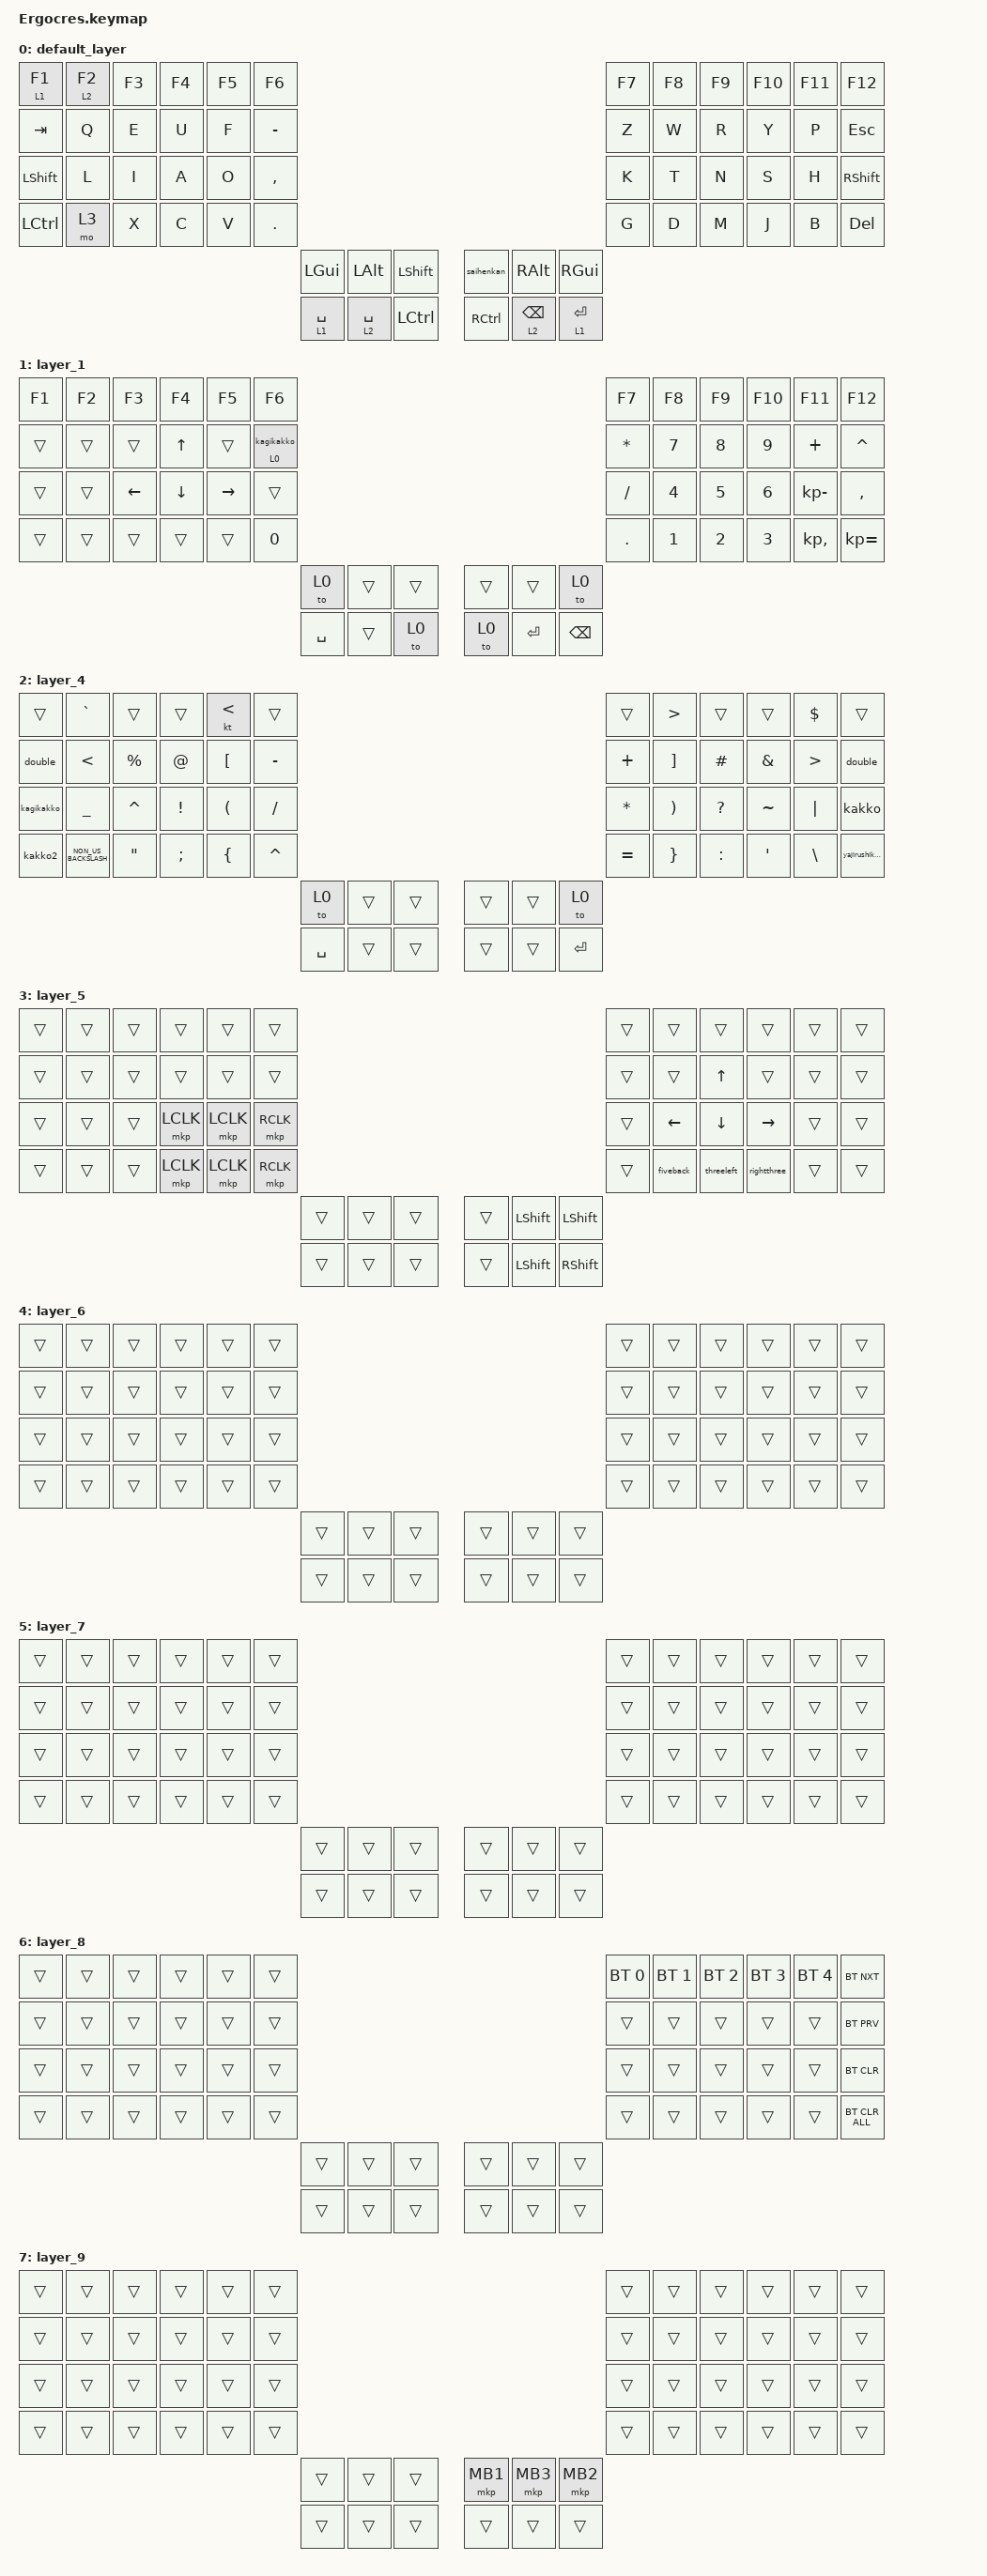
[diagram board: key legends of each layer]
#include <behaviors.dtsi>
#include <dt-bindings/zmk/bt.h>
#include <dt-bindings/zmk/keys.h>
#include <dt-bindings/zmk/pointing.h>

&mt {
    flavor = "balanced";
    quick-tap-ms = <0>;
};

/ {
    combos {
        compatible = "zmk,combos";

        home {
            bindings = <&kp HOME>;
            key-positions = <31 33>;
        };

        end {
            bindings = <&kp END>;
            key-positions = <43 45>;
        };

        pgup {
            bindings = <&kp PAGE_UP>;
            key-positions = <26 28>;
        };

        pgdn {
            bindings = <&kp PAGE_DOWN>;
            key-positions = <38 40>;
        };

        prtsc {
            bindings = <&kp PRINTSCREEN>;
            key-positions = <19 20 21>;
        };

        shiftcaps {
            bindings = <&oomoji>;
            key-positions = <24 36 37 25>;
        };

        altF4 {
            bindings = <&altF4>;
            key-positions = <3 5>;
            timeout-ms = <200>;
            require-prior-idle-ms = <300>;
        };

        tolayer1 {
            bindings = <&mo 1>;
            key-positions = <48 54>;
        };

        tolayer2 {
            bindings = <&mo 2>;
            key-positions = <49 55>;
        };

        Rtolayer1 {
            bindings = <&kp ENTER>;
            key-positions = <53 59>;
        };

        rtolayer2 {
            bindings = <&kp BACKSPACE>;
            key-positions = <52 58>;
        };

        caps2 {
            bindings = <&oomoji>;
            key-positions = <24 35>;
        };

        kana {
            bindings = <&kp LANGUAGE_1>;
            key-positions = <19 21>;
        };

        hanzen {
            bindings = <&kp LANG2>;
            key-positions = <14 16>;
        };

        right {
            bindings = <&kp RIGHT>;
            key-positions = <4 16>;
        };

        left {
            bindings = <&kp LEFT>;
            key-positions = <2 14>;
        };

        up {
            bindings = <&kp UP_ARROW>;
            key-positions = <3 15>;
        };

        down {
            bindings = <&kp DOWN>;
            key-positions = <15 27>;
        };

        kagikakko {
            bindings = <&kagikakko>;
            key-positions = <15 16 31>;
        };

        kakko {
            bindings = <&kakko>;
            key-positions = <27 28 31>;
        };

        double {
            bindings = <&double>;
            key-positions = <31 3 4>;
        };

        yajirushikakko {
            bindings = <&yajirushikakko>;
            key-positions = <39 40 31>;
        };

        kakko2 {
            bindings = <&kakko2>;
            key-positions = <15 16 19>;
        };

        to1 {
            bindings = <&tog 1>;
            key-positions = <52 53>;
        };

        too1 {
            bindings = <&tog 1>;
            key-positions = <48 49>;
        };

        too2 {
            bindings = <&tog 2>;
            key-positions = <54 55>;
        };

        enter2 {
            bindings = <&kp BACKSPACE>;
            key-positions = <31 43>;
        };

        enter3 {
            bindings = <&kp BACKSPACE>;
            key-positions = <30 42>;
        };
    };

    macros {
        kagikakko: to_layer_0 {
            compatible = "zmk,behavior-macro";
            #binding-cells = <0>;
            bindings = <&kp LEFT_BRACKET &kp RIGHT_BRACKET &kp ENTER &kp LEFT>;
            label = "TO_LAYER_0";
        };

        kakko2: kakko2 {
            compatible = "zmk,behavior-macro";
            #binding-cells = <0>;
            bindings = <&kp LEFT_BRACE &kp RIGHT_BRACE &kp ENTER &kp LEFT>;
            label = "kakko2";
        };

        kakko: kakko {
            compatible = "zmk,behavior-macro";
            #binding-cells = <0>;
            bindings = <&kp LEFT_PARENTHESIS &kp RIGHT_PARENTHESIS &kp ENTER &kp LEFT>;
            label = "kakko";
        };

        yajirushikakko: yajirushikakko {
            compatible = "zmk,behavior-macro";
            #binding-cells = <0>;
            bindings = <&kp LESS_THAN &kp GREATER_THAN &kp ENTER &kp LEFT>;
            label = "yajirushikakko";
        };

        double: double {
            compatible = "zmk,behavior-macro";
            #binding-cells = <0>;
            bindings = <&kp DOUBLE_QUOTES &kp DOUBLE_QUOTES &kp ENTER &kp LEFT>;
            label = "double";
        };

        altF4: altF4 {
            compatible = "zmk,behavior-macro";
            #binding-cells = <0>;
            bindings = <&kp LEFT_ALT &kp F4>;
            label = "ALTF4";
        };

        oomoji: oomoji {
            compatible = "zmk,behavior-macro";
            #binding-cells = <0>;
            bindings = <&kp LEFT_SHIFT &kp CAPSLOCK>;
            label = "OOMOJI";
        };

        fiveback: fiveback {
            compatible = "zmk,behavior-macro";
            #binding-cells = <0>;
            bindings = <&kp LEFT &kp LEFT &kp LEFT &kp LEFT &kp LEFT>;
            label = "FIVEBACK";
        };

        threeleft: threeleft {
            compatible = "zmk,behavior-macro";
            #binding-cells = <0>;
            bindings = <&kp LEFT &kp LEFT &kp LEFT>;
            label = "THREELEFT";
        };

        rightthree: rightthree {
            compatible = "zmk,behavior-macro";
            #binding-cells = <0>;
            bindings = <&kp RIGHT &kp RIGHT &kp RIGHT>;
            label = "RIGHTTHREE";
        };

        saihenkan: saihenkan {
            compatible = "zmk,behavior-macro";
            #binding-cells = <0>;
            bindings = <&kp LEFT_GUI &kp SLASH>;
            label = "SAIHENKAN";
        };
    };

    lt_to_layer_0: lt_to_layer_0 {
        compatible = "zmk,behavior-hold-tap";
        label = "LAYER_TAP_TO_0";
        bindings = <&mo>, <&kagikakko>;

        #binding-cells = <2>;
        tapping-term-ms = <200>;
    };
};

/ {
    behaviors {
    };

    keymap {
        compatible = "zmk,keymap";

        default_layer {
            bindings = <
&lt 1 F1        &lt 2 F2      &kp F3          &kp F4      &kp F5         &kp F6           &kp F7       &kp F8       &kp F9     &kp F10    &kp F11          &kp F12
&kp TAB         &kp Q         &kp E           &kp U       &kp F          &kp MINUS        &kp Z        &kp W        &kp R      &kp Y      &kp P            &kp ESC
&kp LEFT_SHIFT  &kp L         &kp I           &kp A       &kp O          &kp COMMA        &kp K        &kp T        &kp N      &kp S      &kp H            &kp RIGHT_SHIFT
&kp LCTRL       &mo 3         &kp X           &kp C       &kp V          &kp DOT          &kp G        &kp D        &kp M      &kp J      &kp B            &kp DEL
&kp LEFT_GUI    &kp LEFT_ALT  &kp LEFT_SHIFT  &saihenkan  &kp RIGHT_ALT  &kp RIGHT_GUI    &lt 1 SPACE  &lt 2 SPACE  &kp LCTRL  &kp RCTRL  &lt 2 BACKSPACE  &lt 1 ENTER
            >;
        };

        layer_1 {
            bindings = <
&kp F1  &kp F2  &kp F3          &kp F4          &kp F5           &kp F6                &kp F7     &kp F8        &kp F9        &kp F10       &kp F11          &kp F12
&trans  &trans  &trans          &kp UP_ARROW    &trans           &lt_to_layer_0 0 0    &kp ASTRK  &kp N7        &kp N8        &kp N9        &kp PLUS         &kp CARET
&trans  &trans  &kp LEFT_ARROW  &kp DOWN_ARROW  &kp RIGHT_ARROW  &trans                &kp SLASH  &kp NUMBER_4  &kp N5        &kp NUMBER_6  &kp KP_SUBTRACT  &kp COMMA
&trans  &trans  &trans          &trans          &trans           &kp N0                &kp DOT    &kp NUMBER_1  &kp NUMBER_2  &kp NUMBER_3  &kp KP_COMMA     &kp KP_EQUAL
&to 0   &trans  &trans          &trans          &trans           &to 0                 &kp SPACE  &trans        &to 0         &to 0         &kp ENTER        &kp BACKSPACE
            >;
        };

        layer_4 {
            bindings = <
&trans      &kp GRAVE             &trans             &trans           &kt LESS_THAN         &trans       &trans        &kp GREATER_THAN       &trans        &trans         &kp DOLLAR        &trans
&double     &kp LESS_THAN         &kp PERCENT        &kp AT_SIGN      &kp LEFT_BRACKET      &kp MINUS    &kp PLUS      &kp RIGHT_BRACKET      &kp HASH      &kp AMPERSAND  &kp GREATER_THAN  &double
&kagikakko  &kp UNDER             &kp CARET          &kp EXCLAMATION  &kp LEFT_PARENTHESIS  &kp SLASH    &kp ASTERISK  &kp RIGHT_PARENTHESIS  &kp QUESTION  &kp TILDE      &kp PIPE          &kakko
&kakko2     &kp NON_US_BACKSLASH  &kp DOUBLE_QUOTES  &kp SEMICOLON    &kp LEFT_BRACE        &kp CARET    &kp EQUAL     &kp RIGHT_BRACE        &kp COLON     &kp SQT        &kp BACKSLASH     &yajirushikakko
&to 0       &trans                &trans             &trans           &trans                &to 0        &kp SPACE     &trans                 &trans        &trans         &trans            &kp ENTER
            >;
        };

        layer_5 {
            bindings = <
&trans  &trans  &trans  &trans     &trans          &trans            &trans  &trans     &trans      &trans       &trans          &trans
&trans  &trans  &trans  &trans     &trans          &trans            &trans  &trans     &kp UP      &trans       &trans          &trans
&trans  &trans  &trans  &mkp LCLK  &mkp LCLK       &mkp RCLK         &trans  &kp LEFT   &kp DOWN    &kp RIGHT    &trans          &trans
&trans  &trans  &trans  &mkp LCLK  &mkp LCLK       &mkp RCLK         &trans  &fiveback  &threeleft  &rightthree  &trans          &trans
&trans  &trans  &trans  &trans     &kp LEFT_SHIFT  &kp LEFT_SHIFT    &trans  &trans     &trans      &trans       &kp LEFT_SHIFT  &kp RIGHT_SHIFT
            >;
        };

        layer_6 {
            bindings = <
&trans  &trans  &trans  &trans  &trans  &trans    &trans  &trans  &trans  &trans  &trans  &trans
&trans  &trans  &trans  &trans  &trans  &trans    &trans  &trans  &trans  &trans  &trans  &trans
&trans  &trans  &trans  &trans  &trans  &trans    &trans  &trans  &trans  &trans  &trans  &trans
&trans  &trans  &trans  &trans  &trans  &trans    &trans  &trans  &trans  &trans  &trans  &trans
&trans  &trans  &trans  &trans  &trans  &trans    &trans  &trans  &trans  &trans  &trans  &trans
            >;
        };

        layer_7 {
            bindings = <
&trans  &trans  &trans  &trans  &trans  &trans    &trans  &trans  &trans  &trans  &trans  &trans
&trans  &trans  &trans  &trans  &trans  &trans    &trans  &trans  &trans  &trans  &trans  &trans
&trans  &trans  &trans  &trans  &trans  &trans    &trans  &trans  &trans  &trans  &trans  &trans
&trans  &trans  &trans  &trans  &trans  &trans    &trans  &trans  &trans  &trans  &trans  &trans
&trans  &trans  &trans  &trans  &trans  &trans    &trans  &trans  &trans  &trans  &trans  &trans
            >;
        };

        layer_8 {
            bindings = <
&trans  &trans  &trans  &trans  &trans  &trans    &bt BT_SEL 0  &bt BT_SEL 1  &bt BT_SEL 2  &bt BT_SEL 3  &bt BT_SEL 4  &bt BT_NXT
&trans  &trans  &trans  &trans  &trans  &trans    &trans        &trans        &trans        &trans        &trans        &bt BT_PRV
&trans  &trans  &trans  &trans  &trans  &trans    &trans        &trans        &trans        &trans        &trans        &bt BT_CLR
&trans  &trans  &trans  &trans  &trans  &trans    &trans        &trans        &trans        &trans        &trans        &bt BT_CLR_ALL
&trans  &trans  &trans  &trans  &trans  &trans    &trans        &trans        &trans        &trans        &trans        &trans
            >;
        };

        layer_9 {
            bindings = <
&trans  &trans  &trans  &trans    &trans    &trans      &trans  &trans  &trans  &trans  &trans  &trans
&trans  &trans  &trans  &trans    &trans    &trans      &trans  &trans  &trans  &trans  &trans  &trans
&trans  &trans  &trans  &trans    &trans    &trans      &trans  &trans  &trans  &trans  &trans  &trans
&trans  &trans  &trans  &trans    &trans    &trans      &trans  &trans  &trans  &trans  &trans  &trans
&trans  &trans  &trans  &mkp MB1  &mkp MB3  &mkp MB2    &trans  &trans  &trans  &trans  &trans  &trans
            >;
        };
    };
};
